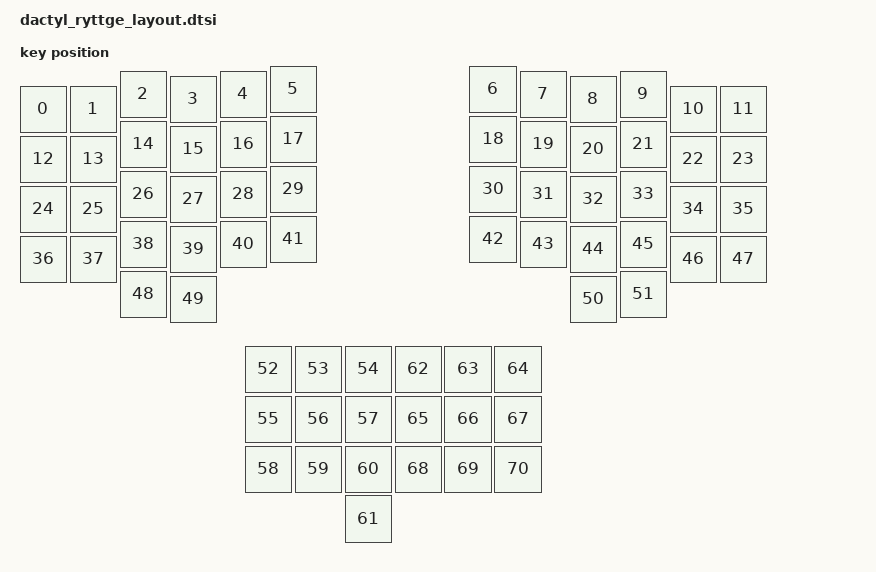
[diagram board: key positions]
#include <physical_layouts.dtsi>

/*
 * Approximate positions for ZMK Studio. Order matches the transform:
 * 48 Charybdis keys, 4 extra keys (A B C D), 10 left thumb, 9 right thumb.
 */

/ {
    dactyl_ryttge_layout: dactyl_ryttge_layout {
        compatible = "zmk,physical-layout";
        display-name = "Dactyl-Ryttge";
        transform = <&default_transform>;

        keys  //                     w   h     x     y     rot    rx    ry
            = <&key_physical_attrs 100 100     0    40       0     0     0>
            , <&key_physical_attrs 100 100   100    40       0     0     0>
            , <&key_physical_attrs 100 100   200    10       0     0     0>
            , <&key_physical_attrs 100 100   300    20       0     0     0>
            , <&key_physical_attrs 100 100   400    10       0     0     0>
            , <&key_physical_attrs 100 100   500     0       0     0     0>
            , <&key_physical_attrs 100 100   900     0       0     0     0>
            , <&key_physical_attrs 100 100  1000    10       0     0     0>
            , <&key_physical_attrs 100 100  1100    20       0     0     0>
            , <&key_physical_attrs 100 100  1200    10       0     0     0>
            , <&key_physical_attrs 100 100  1300    40       0     0     0>
            , <&key_physical_attrs 100 100  1400    40       0     0     0>
            , <&key_physical_attrs 100 100     0   140       0     0     0>
            , <&key_physical_attrs 100 100   100   140       0     0     0>
            , <&key_physical_attrs 100 100   200   110       0     0     0>
            , <&key_physical_attrs 100 100   300   120       0     0     0>
            , <&key_physical_attrs 100 100   400   110       0     0     0>
            , <&key_physical_attrs 100 100   500   100       0     0     0>
            , <&key_physical_attrs 100 100   900   100       0     0     0>
            , <&key_physical_attrs 100 100  1000   110       0     0     0>
            , <&key_physical_attrs 100 100  1100   120       0     0     0>
            , <&key_physical_attrs 100 100  1200   110       0     0     0>
            , <&key_physical_attrs 100 100  1300   140       0     0     0>
            , <&key_physical_attrs 100 100  1400   140       0     0     0>
            , <&key_physical_attrs 100 100     0   240       0     0     0>
            , <&key_physical_attrs 100 100   100   240       0     0     0>
            , <&key_physical_attrs 100 100   200   210       0     0     0>
            , <&key_physical_attrs 100 100   300   220       0     0     0>
            , <&key_physical_attrs 100 100   400   210       0     0     0>
            , <&key_physical_attrs 100 100   500   200       0     0     0>
            , <&key_physical_attrs 100 100   900   200       0     0     0>
            , <&key_physical_attrs 100 100  1000   210       0     0     0>
            , <&key_physical_attrs 100 100  1100   220       0     0     0>
            , <&key_physical_attrs 100 100  1200   210       0     0     0>
            , <&key_physical_attrs 100 100  1300   240       0     0     0>
            , <&key_physical_attrs 100 100  1400   240       0     0     0>
            , <&key_physical_attrs 100 100     0   340       0     0     0>
            , <&key_physical_attrs 100 100   100   340       0     0     0>
            , <&key_physical_attrs 100 100   200   310       0     0     0>
            , <&key_physical_attrs 100 100   300   320       0     0     0>
            , <&key_physical_attrs 100 100   400   310       0     0     0>
            , <&key_physical_attrs 100 100   500   300       0     0     0>
            , <&key_physical_attrs 100 100   900   300       0     0     0>
            , <&key_physical_attrs 100 100  1000   310       0     0     0>
            , <&key_physical_attrs 100 100  1100   320       0     0     0>
            , <&key_physical_attrs 100 100  1200   310       0     0     0>
            , <&key_physical_attrs 100 100  1300   340       0     0     0>
            , <&key_physical_attrs 100 100  1400   340       0     0     0>
            , <&key_physical_attrs 100 100   200   410       0     0     0>
            , <&key_physical_attrs 100 100   300   420       0     0     0>
            , <&key_physical_attrs 100 100  1100   420       0     0     0>
            , <&key_physical_attrs 100 100  1200   410       0     0     0>
            , <&key_physical_attrs 100 100   450   560       0     0     0>
            , <&key_physical_attrs 100 100   550   560       0     0     0>
            , <&key_physical_attrs 100 100   650   560       0     0     0>
            , <&key_physical_attrs 100 100   450   660       0     0     0>
            , <&key_physical_attrs 100 100   550   660       0     0     0>
            , <&key_physical_attrs 100 100   650   660       0     0     0>
            , <&key_physical_attrs 100 100   450   760       0     0     0>
            , <&key_physical_attrs 100 100   550   760       0     0     0>
            , <&key_physical_attrs 100 100   650   760       0     0     0>
            , <&key_physical_attrs 100 100   650   860       0     0     0>
            , <&key_physical_attrs 100 100   750   560       0     0     0>
            , <&key_physical_attrs 100 100   850   560       0     0     0>
            , <&key_physical_attrs 100 100   950   560       0     0     0>
            , <&key_physical_attrs 100 100   750   660       0     0     0>
            , <&key_physical_attrs 100 100   850   660       0     0     0>
            , <&key_physical_attrs 100 100   950   660       0     0     0>
            , <&key_physical_attrs 100 100   750   760       0     0     0>
            , <&key_physical_attrs 100 100   850   760       0     0     0>
            , <&key_physical_attrs 100 100   950   760       0     0     0>
            ;
    };
};
